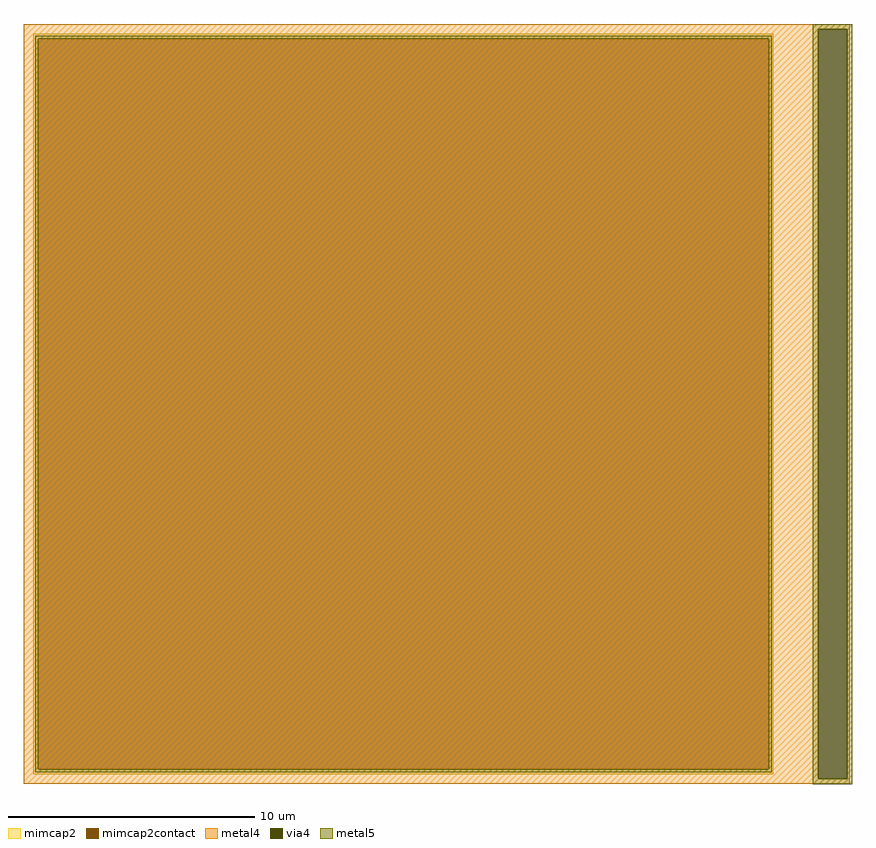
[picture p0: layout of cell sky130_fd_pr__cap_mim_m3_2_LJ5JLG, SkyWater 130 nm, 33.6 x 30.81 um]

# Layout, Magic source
magic
tech sky130B
magscale 1 2
<< metal4 >>
rect -3349 3039 3349 3080
rect -3349 -3039 3093 3039
rect 3329 -3039 3349 3039
rect -3349 -3080 3349 -3039
<< via4 >>
rect 3093 -3039 3329 3039
<< mimcap2 >>
rect -3269 2960 2731 3000
rect -3269 -2960 -3229 2960
rect 2691 -2960 2731 2960
rect -3269 -3000 2731 -2960
<< mimcap2contact >>
rect -3229 -2960 2691 2960
<< metal5 >>
rect 3051 3039 3371 3081
rect -3253 2960 2715 2984
rect -3253 -2960 -3229 2960
rect 2691 -2960 2715 2960
rect -3253 -2984 2715 -2960
rect 3051 -3039 3093 3039
rect 3329 -3039 3371 3039
rect 3051 -3081 3371 -3039
<< properties >>
string FIXED_BBOX -3349 -3080 2811 3080
string gencell sky130_fd_pr__cap_mim_m3_2
string library sky130
string parameters w 30 l 30 val 1.822k carea 2.00 cperi 0.19 nx 1 ny 1 dummy 0 square 0 lmin 2.00 wmin 2.00 lmax 30.0 wmax 30.0 dc 0 bconnect 1 tconnect 1 ccov 100
<< end >>
